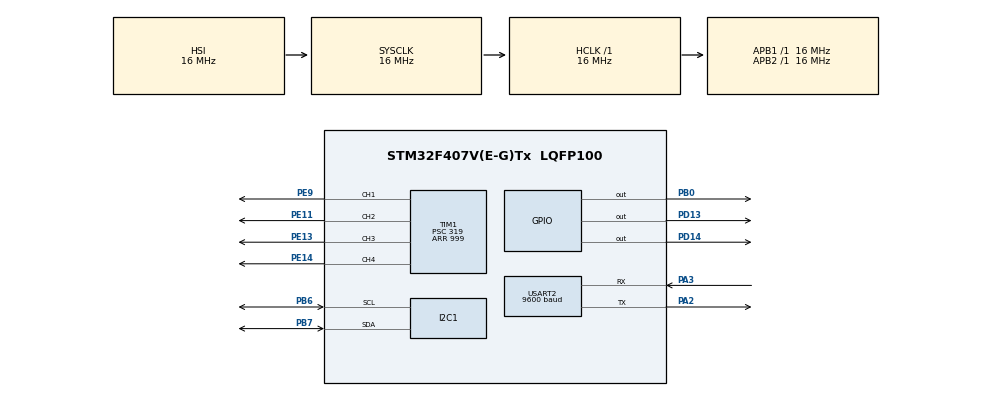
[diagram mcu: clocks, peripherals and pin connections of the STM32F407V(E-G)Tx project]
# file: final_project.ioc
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Mcu.Family=STM32F4
Mcu.Name=STM32F407V(E-G)Tx
Mcu.Package=LQFP100
NVIC.PriorityGroup=NVIC_PRIORITYGROUP_4
NVIC.USART2_IRQn=true\:0\:0\:false\:false\:true\:true\:true
PA13.Mode=Serial_Wire
PA13.Signal=SYS_JTMS-SWDIO
PA14.Mode=Serial_Wire
PA14.Signal=SYS_JTCK-SWCLK
PA2.Mode=Asynchronous
PA2.Signal=USART2_TX
PA3.Mode=Asynchronous
PA3.Signal=USART2_RX
PB0.Signal=GPIO_Output
PB6.Mode=I2C
PB6.Signal=I2C1_SCL
PB7.Mode=I2C
PB7.Signal=I2C1_SDA
PC14-OSC32_IN.Mode=LSE-External-Oscillator
PC14-OSC32_IN.Signal=RCC_OSC32_IN
PC15-OSC32_OUT.Mode=LSE-External-Oscillator
PC15-OSC32_OUT.Signal=RCC_OSC32_OUT
PD13.Signal=GPIO_Output
PD14.Signal=GPIO_Output
PE11.Signal=S_TIM1_CH2
PE13.Signal=S_TIM1_CH3
PE14.Signal=S_TIM1_CH4
PE9.Signal=S_TIM1_CH1
PH0-OSC_IN.Mode=HSE-External-Oscillator
PH0-OSC_IN.Signal=RCC_OSC_IN
PH1-OSC_OUT.Mode=HSE-External-Oscillator
PH1-OSC_OUT.Signal=RCC_OSC_OUT
ProjectManager.HeapSize=0x200
ProjectManager.StackSize=0x400
ProjectManager.TargetToolchain=MDK-ARM V5
RCC.48MHZClocksFreq_Value=48000000
RCC.AHBFreq_Value=16000000
RCC.APB1Freq_Value=16000000
RCC.APB1TimFreq_Value=16000000
RCC.APB2Freq_Value=16000000
RCC.APB2TimFreq_Value=16000000
RCC.CortexFreq_Value=16000000
RCC.HCLKFreq_Value=16000000
RCC.HSE_VALUE=25000000
RCC.HSI_VALUE=16000000
RCC.RCC_RTC_Clock_SourceVirtual=RCC_RTCCLKSOURCE_HSE_DIV25
RCC.RCC_RTC_Clock_Source_FROM_HSE=RCC_RTCCLKSOURCE_HSE_DIV25
RCC.SYSCLKFreq_VALUE=16000000
RCC.VCOOutputFreq_Value=192000000
SH.S_TIM1_CH1.0=TIM1_CH1,PWM Generation1 CH1
SH.S_TIM1_CH2.0=TIM1_CH2,PWM Generation2 CH2
SH.S_TIM1_CH3.0=TIM1_CH3,PWM Generation3 CH3
SH.S_TIM1_CH4.0=TIM1_CH4,Output Compare4 CH4
TIM1.Channel-Output\ Compare4\ CH4=TIM_CHANNEL_4
TIM1.Channel-PWM\ Generation1\ CH1=TIM_CHANNEL_1
TIM1.Channel-PWM\ Generation2\ CH2=TIM_CHANNEL_2
TIM1.Channel-PWM\ Generation3\ CH3=TIM_CHANNEL_3
TIM1.Period=999
TIM1.Prescaler=319
USART2.BaudRate=9600
USART2.VirtualMode=VM_ASYNC
board=custom

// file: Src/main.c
/* USER CODE BEGIN Header */
/**
  ******************************************************************************
  * @file           : main.c
  * @brief          : Main program body
  ******************************************************************************
  * @attention
  *
  * <h2><center>&copy; Copyright (c) 2019 STMicroelectronics.
  * All rights reserved.</center></h2>
  *
  * This software component is licensed by ST under BSD 3-Clause license,
  * the "License"; You may not use this file except in compliance with the
  * License. You may obtain a copy of the License at:
  *                        opensource.org/licenses/BSD-3-Clause
  *
  ******************************************************************************
  */
/* USER CODE END Header */

#include "main.h"

/* USER CODE BEGIN Includes */
#include "servo.h"
#include <stdio.h>
#include "ds1302.h"
#include <string.h>
#include "esp8266.h"
#include "write_lcd_func.h"
#include "printf.h"
#include <time.h>
/* USER CODE END Includes */

I2C_HandleTypeDef hi2c1;

TIM_HandleTypeDef htim1;

UART_HandleTypeDef huart2;

/* USER CODE BEGIN PV */
uint8_t write_time[8] = {0x0,0x13,0x05,0x1B,0x14,0x0A,0x00,0x06};
uint8_t read_time[10];
char date_ [20];
char time_ [20];
char dhours[2];
char dminutes[2];
char dseconds[2];
char *aa;
extern uint8_t Rx_data;

extern char *medicine_name[4],*medicine_time[4],*medicine_stat[4],*medicine_pin[4];
int isactive[4];
/* USER CODE END PV */

void SystemClock_Config(void);
static void MX_GPIO_Init(void);
static void MX_TIM1_Init(void);
static void MX_USART2_UART_Init(void);
static void MX_I2C1_Init(void);

int main(void)
{

  /* MCU Configuration--------------------------------------------------------*/

  /* Reset of all peripherals, Initializes the Flash interface and the Systick. */
  HAL_Init();

  /* Configure the system clock */
  SystemClock_Config();

  /* Initialize all configured peripherals */
  MX_GPIO_Init();
  MX_TIM1_Init();
  MX_USART2_UART_Init();
  MX_I2C1_Init();
  /* USER CODE BEGIN 2 */

	HAL_UART_Receive_IT(&huart2,	&Rx_data, 1);
	send_intro_lcd();
	ESP_Init();
	DS1302_Init();
	//DS1302_WriteTimeBurst(write_time);

	for(int i = 1;i<5;i++)
		initServo(htim1,i);

  /* USER CODE END 2 */

  /* Infinite loop */
  while (1)
  {

    /* USER CODE BEGIN 3 */
			ESP_Read();
			DS1302_ReadTimeBurst(read_time);
			//sprintf(date_,"%u/0%u/%u",read_time[3],read_time[2],2000+read_time[1]);
			sprintf(time_,"%02u%02u%02u",read_time[4],read_time[5],read_time[6]);

		for(int i=0;i<4;i++)
		{
		if( (isactive[i] == 0) && (atoi(medicine_time[i]) != 0) &&(atoi(time_) >= atoi(medicine_time[i])))
		{
			alarm(medicine_name[i],medicine_time[i],medicine_pin[i]);
			isactive[i] = 1;
		}
	}

		/*	sprintf(dhours,"%u",read_time[4]);
			sprintf(dminutes,"%u",read_time[5]);
			sprintf(dseconds,"%u",read_time[6]);
	*/
		/*	if ( (strncmp(dhours,"14",2) == 0) && (strncmp(dminutes,"42",2) == 0) && (alarm == 1)  ){

					HAL_GPIO_WritePin(GPIOD,GPIO_PIN_14,GPIO_PIN_SET);
					openCover(htim1,1);
					HAL_Delay(1000);
					closeCover(htim1,1);
					HAL_Delay(1000);
					HAL_GPIO_WritePin(GPIOD,GPIO_PIN_14,GPIO_PIN_RESET);
					alarm = 0;
			}
			*/

				}
  /* USER CODE END 3 */
}

void SystemClock_Config(void)
{
  RCC_OscInitTypeDef RCC_OscInitStruct = {0};
  RCC_ClkInitTypeDef RCC_ClkInitStruct = {0};

  /** Configure the main internal regulator output voltage
  */
  __HAL_RCC_PWR_CLK_ENABLE();
  __HAL_PWR_VOLTAGESCALING_CONFIG(PWR_REGULATOR_VOLTAGE_SCALE1);
  /** Initializes the CPU, AHB and APB busses clocks
  */
  RCC_OscInitStruct.OscillatorType = RCC_OSCILLATORTYPE_HSI;
  RCC_OscInitStruct.HSIState = RCC_HSI_ON;
  RCC_OscInitStruct.HSICalibrationValue = RCC_HSICALIBRATION_DEFAULT;
  RCC_OscInitStruct.PLL.PLLState = RCC_PLL_NONE;
  if (HAL_RCC_OscConfig(&RCC_OscInitStruct) != HAL_OK)
  {
    Error_Handler();
  }
  /** Initializes the CPU, AHB and APB busses clocks
  */
  RCC_ClkInitStruct.ClockType = RCC_CLOCKTYPE_HCLK|RCC_CLOCKTYPE_SYSCLK
                              |RCC_CLOCKTYPE_PCLK1|RCC_CLOCKTYPE_PCLK2;
  RCC_ClkInitStruct.SYSCLKSource = RCC_SYSCLKSOURCE_HSI;
  RCC_ClkInitStruct.AHBCLKDivider = RCC_SYSCLK_DIV1;
  RCC_ClkInitStruct.APB1CLKDivider = RCC_HCLK_DIV1;
  RCC_ClkInitStruct.APB2CLKDivider = RCC_HCLK_DIV1;

  if (HAL_RCC_ClockConfig(&RCC_ClkInitStruct, FLASH_LATENCY_0) != HAL_OK)
  {
    Error_Handler();
  }
}

static void MX_I2C1_Init(void)
{

  hi2c1.Instance = I2C1;
  hi2c1.Init.ClockSpeed = 100000;
  hi2c1.Init.DutyCycle = I2C_DUTYCYCLE_2;
  hi2c1.Init.OwnAddress1 = 0;
  hi2c1.Init.AddressingMode = I2C_ADDRESSINGMODE_7BIT;
  hi2c1.Init.DualAddressMode = I2C_DUALADDRESS_DISABLE;
  hi2c1.Init.OwnAddress2 = 0;
  hi2c1.Init.GeneralCallMode = I2C_GENERALCALL_DISABLE;
  hi2c1.Init.NoStretchMode = I2C_NOSTRETCH_DISABLE;
  if (HAL_I2C_Init(&hi2c1) != HAL_OK)
  {
    Error_Handler();
  }

}

static void MX_TIM1_Init(void)
{

  TIM_MasterConfigTypeDef sMasterConfig = {0};
  TIM_OC_InitTypeDef sConfigOC = {0};
  TIM_BreakDeadTimeConfigTypeDef sBreakDeadTimeConfig = {0};

  htim1.Instance = TIM1;
  htim1.Init.Prescaler = 319;
  htim1.Init.CounterMode = TIM_COUNTERMODE_UP;
  htim1.Init.Period = 999;
  htim1.Init.ClockDivision = TIM_CLOCKDIVISION_DIV1;
  htim1.Init.RepetitionCounter = 0;
  htim1.Init.AutoReloadPreload = TIM_AUTORELOAD_PRELOAD_DISABLE;
  if (HAL_TIM_PWM_Init(&htim1) != HAL_OK)
  {
    Error_Handler();
  }
  if (HAL_TIM_OC_Init(&htim1) != HAL_OK)
  {
    Error_Handler();
  }
  sMasterConfig.MasterOutputTrigger = TIM_TRGO_RESET;
  sMasterConfig.MasterSlaveMode = TIM_MASTERSLAVEMODE_DISABLE;
  if (HAL_TIMEx_MasterConfigSynchronization(&htim1, &sMasterConfig) != HAL_OK)
  {
    Error_Handler();
  }
  sConfigOC.OCMode = TIM_OCMODE_PWM1;
  sConfigOC.Pulse = 0;
  sConfigOC.OCPolarity = TIM_OCPOLARITY_HIGH;
  sConfigOC.OCNPolarity = TIM_OCNPOLARITY_HIGH;
  sConfigOC.OCFastMode = TIM_OCFAST_DISABLE;
  sConfigOC.OCIdleState = TIM_OCIDLESTATE_RESET;
  sConfigOC.OCNIdleState = TIM_OCNIDLESTATE_RESET;
  if (HAL_TIM_PWM_ConfigChannel(&htim1, &sConfigOC, TIM_CHANNEL_1) != HAL_OK)
  {
    Error_Handler();
  }
  if (HAL_TIM_PWM_ConfigChannel(&htim1, &sConfigOC, TIM_CHANNEL_2) != HAL_OK)
  {
    Error_Handler();
  }
  if (HAL_TIM_PWM_ConfigChannel(&htim1, &sConfigOC, TIM_CHANNEL_3) != HAL_OK)
  {
    Error_Handler();
  }
  sConfigOC.OCMode = TIM_OCMODE_TIMING;
  if (HAL_TIM_OC_ConfigChannel(&htim1, &sConfigOC, TIM_CHANNEL_4) != HAL_OK)
  {
    Error_Handler();
  }
  sBreakDeadTimeConfig.OffStateRunMode = TIM_OSSR_DISABLE;
  sBreakDeadTimeConfig.OffStateIDLEMode = TIM_OSSI_DISABLE;
  sBreakDeadTimeConfig.LockLevel = TIM_LOCKLEVEL_OFF;
  sBreakDeadTimeConfig.DeadTime = 0;
  sBreakDeadTimeConfig.BreakState = TIM_BREAK_DISABLE;
  sBreakDeadTimeConfig.BreakPolarity = TIM_BREAKPOLARITY_HIGH;
  sBreakDeadTimeConfig.AutomaticOutput = TIM_AUTOMATICOUTPUT_DISABLE;
  if (HAL_TIMEx_ConfigBreakDeadTime(&htim1, &sBreakDeadTimeConfig) != HAL_OK)
  {
    Error_Handler();
  }
  HAL_TIM_MspPostInit(&htim1);

}

static void MX_USART2_UART_Init(void)
{

  huart2.Instance = USART2;
  huart2.Init.BaudRate = 9600;
  huart2.Init.WordLength = UART_WORDLENGTH_8B;
  huart2.Init.StopBits = UART_STOPBITS_1;
  huart2.Init.Parity = UART_PARITY_NONE;
  huart2.Init.Mode = UART_MODE_TX_RX;
  huart2.Init.HwFlowCtl = UART_HWCONTROL_NONE;
  huart2.Init.OverSampling = UART_OVERSAMPLING_16;
  if (HAL_UART_Init(&huart2) != HAL_OK)
  {
    Error_Handler();
  }

}

static void MX_GPIO_Init(void)
{
  GPIO_InitTypeDef GPIO_InitStruct = {0};

  /* GPIO Ports Clock Enable */
  __HAL_RCC_GPIOC_CLK_ENABLE();
  __HAL_RCC_GPIOH_CLK_ENABLE();
  __HAL_RCC_GPIOA_CLK_ENABLE();
  __HAL_RCC_GPIOB_CLK_ENABLE();
  __HAL_RCC_GPIOE_CLK_ENABLE();
  __HAL_RCC_GPIOD_CLK_ENABLE();

  /*Configure GPIO pin Output Level */
  HAL_GPIO_WritePin(GPIOB, GPIO_PIN_0, GPIO_PIN_RESET);

  /*Configure GPIO pin Output Level */
  HAL_GPIO_WritePin(GPIOD, GPIO_PIN_13|GPIO_PIN_14, GPIO_PIN_RESET);

  /*Configure GPIO pin : PB0 */
  GPIO_InitStruct.Pin = GPIO_PIN_0;
  GPIO_InitStruct.Mode = GPIO_MODE_OUTPUT_PP;
  GPIO_InitStruct.Pull = GPIO_NOPULL;
  GPIO_InitStruct.Speed = GPIO_SPEED_FREQ_LOW;
  HAL_GPIO_Init(GPIOB, &GPIO_InitStruct);

  /*Configure GPIO pins : PD13 PD14 */
  GPIO_InitStruct.Pin = GPIO_PIN_13|GPIO_PIN_14;
  GPIO_InitStruct.Mode = GPIO_MODE_OUTPUT_PP;
  GPIO_InitStruct.Pull = GPIO_NOPULL;
  GPIO_InitStruct.Speed = GPIO_SPEED_FREQ_LOW;
  HAL_GPIO_Init(GPIOD, &GPIO_InitStruct);

}

void Error_Handler(void)
{
}

/************************ (C) COPYRIGHT STMicroelectronics *****END OF FILE****/
